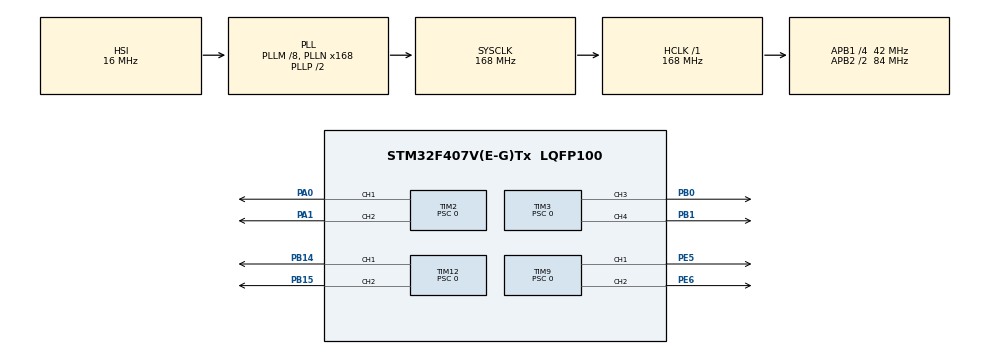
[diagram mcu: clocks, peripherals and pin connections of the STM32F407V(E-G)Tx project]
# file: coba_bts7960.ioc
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Mcu.Family=STM32F4
Mcu.Name=STM32F407V(E-G)Tx
Mcu.Package=LQFP100
NVIC.PriorityGroup=NVIC_PRIORITYGROUP_4
PA0-WKUP.Signal=S_TIM2_CH1_ETR
PA1.Signal=S_TIM2_CH2
PA13.Mode=Serial_Wire
PA13.Signal=SYS_JTMS-SWDIO
PA14.Mode=Serial_Wire
PA14.Signal=SYS_JTCK-SWCLK
PB0.Signal=S_TIM3_CH3
PB1.Signal=S_TIM3_CH4
PB14.Signal=S_TIM12_CH1
PB15.Signal=S_TIM12_CH2
PE5.Signal=S_TIM9_CH1
PE6.Signal=S_TIM9_CH2
PH0-OSC_IN.Mode=HSE-External-Oscillator
PH0-OSC_IN.Signal=RCC_OSC_IN
PH1-OSC_OUT.Mode=HSE-External-Oscillator
PH1-OSC_OUT.Signal=RCC_OSC_OUT
ProjectManager.HeapSize=0x200
ProjectManager.StackSize=0x400
ProjectManager.TargetToolchain=STM32CubeIDE
RCC.48MHZClocksFreq_Value=84000000
RCC.AHBFreq_Value=168000000
RCC.APB1CLKDivider=RCC_HCLK_DIV4
RCC.APB1Freq_Value=42000000
RCC.APB1TimFreq_Value=84000000
RCC.APB2CLKDivider=RCC_HCLK_DIV2
RCC.APB2Freq_Value=84000000
RCC.APB2TimFreq_Value=168000000
RCC.CortexFreq_Value=168000000
RCC.HCLKFreq_Value=168000000
RCC.HSE_VALUE=25000000
RCC.HSI_VALUE=16000000
RCC.LSE_VALUE=32768
RCC.PLLM=8
RCC.PLLN=168
RCC.SYSCLKFreq_VALUE=168000000
RCC.SYSCLKSource=RCC_SYSCLKSOURCE_PLLCLK
RCC.VCOOutputFreq_Value=336000000
SH.S_TIM12_CH1.0=TIM12_CH1,PWM Generation1 CH1
SH.S_TIM12_CH2.0=TIM12_CH2,PWM Generation2 CH2
SH.S_TIM2_CH1_ETR.0=TIM2_CH1,PWM Generation1 CH1
SH.S_TIM2_CH2.0=TIM2_CH2,PWM Generation2 CH2
SH.S_TIM3_CH3.0=TIM3_CH3,PWM Generation3 CH3
SH.S_TIM3_CH4.0=TIM3_CH4,PWM Generation4 CH4
SH.S_TIM9_CH1.0=TIM9_CH1,PWM Generation1 CH1
SH.S_TIM9_CH2.0=TIM9_CH2,PWM Generation2 CH2
TIM12.AutoReloadPreload=TIM_AUTORELOAD_PRELOAD_ENABLE
TIM12.Channel-PWM\ Generation1\ CH1=TIM_CHANNEL_1
TIM12.Channel-PWM\ Generation2\ CH2=TIM_CHANNEL_2
TIM12.Period=4199
TIM12.Prescaler=0
TIM2.AutoReloadPreload=TIM_AUTORELOAD_PRELOAD_DISABLE
TIM2.Channel-PWM\ Generation1\ CH1=TIM_CHANNEL_1
TIM2.Channel-PWM\ Generation2\ CH2=TIM_CHANNEL_2
TIM2.Period=4199
TIM2.Prescaler=0
TIM3.Channel-PWM\ Generation3\ CH3=TIM_CHANNEL_3
TIM3.Channel-PWM\ Generation4\ CH4=TIM_CHANNEL_4
TIM3.Period=4199
TIM3.Prescaler=0
TIM9.Channel-PWM\ Generation1\ CH1=TIM_CHANNEL_1
TIM9.Channel-PWM\ Generation2\ CH2=TIM_CHANNEL_2
TIM9.Period=8399  
TIM9.Prescaler=0
TIM9.Pulse-PWM\ Generation1\ CH1=2100
VP_TIM12_VS_ClockSourceINT.Mode=Internal
VP_TIM2_VS_ClockSourceINT.Mode=Internal
VP_TIM3_VS_ClockSourceINT.Mode=Internal
VP_TIM9_VS_ClockSourceINT.Mode=Internal
board=custom

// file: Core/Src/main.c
/* USER CODE BEGIN Header */
/**
  ******************************************************************************
  * @file           : main.c
  * @brief          : Main program body
  ******************************************************************************
  * @attention
  *
  * Copyright (c) 2025 STMicroelectronics.
  * All rights reserved.
  *
  * This software is licensed under terms that can be found in the LICENSE file
  * in the root directory of this software component.
  * If no LICENSE file comes with this software, it is provided AS-IS.
  *
  ******************************************************************************
  */
/* USER CODE END Header */
#include "main.h"

TIM_HandleTypeDef htim2;
TIM_HandleTypeDef htim3;
TIM_HandleTypeDef htim9;
TIM_HandleTypeDef htim12;

void SystemClock_Config(void);
static void MX_GPIO_Init(void);
static void MX_TIM9_Init(void);
static void MX_TIM12_Init(void);
static void MX_TIM2_Init(void);
static void MX_TIM3_Init(void);

/* USER CODE BEGIN 0 */

// BTS7960 Motor Control Constants
//#define MOTOR_PWM_MAX 8399 // Maximum PWM value (ARR value)
#define MOTOR_SPEED_50 3600  // 50% duty cycle

// Motor Control Functions for BTS7960

//void motor_forward(uint16_t speed) {
//    __HAL_TIM_SET_COMPARE(&htim9, TIM_CHANNEL_1, speed);  // RPWM (PE5)  = speed
//    __HAL_TIM_SET_COMPARE(&htim9, TIM_CHANNEL_2, 0);      // LPWM (PE6)  = 0
//    __HAL_TIM_SET_COMPARE(&htim12, TIM_CHANNEL_1, speed); // RPWM (PB14) = speed
//    __HAL_TIM_SET_COMPARE(&htim12, TIM_CHANNEL_2, 0);     // LPWM (PB15) = 0
//    __HAL_TIM_SET_COMPARE(&htim3, TIM_CHANNEL_3, speed);  // RPWM (PB0)  = speed
//    __HAL_TIM_SET_COMPARE(&htim3, TIM_CHANNEL_4, 0);	  // LPWM (PB1)  = 0
//    __HAL_TIM_SET_COMPARE(&htim2, TIM_CHANNEL_1, speed);  // RPWM (PA0)  = speed
//    __HAL_TIM_SET_COMPARE(&htim2, TIM_CHANNEL_2, 0);	  // LPWM (PA1)  = 0
//}
//
//void motor_reverse(uint16_t speed) {
//    __HAL_TIM_SET_COMPARE(&htim9, TIM_CHANNEL_1, 0);      // RPWM (PE5)  = 0
//    __HAL_TIM_SET_COMPARE(&htim9, TIM_CHANNEL_2, speed);  // LPWM (PE6)  = speed
//    __HAL_TIM_SET_COMPARE(&htim12, TIM_CHANNEL_1, 0);     // RPWM (PB14) = 0
//    __HAL_TIM_SET_COMPARE(&htim12, TIM_CHANNEL_2, speed); // LPWM (PB15) = speed
//    __HAL_TIM_SET_COMPARE(&htim3, TIM_CHANNEL_3, 0);      // RPWM (PB0)  = 0
//    __HAL_TIM_SET_COMPARE(&htim3, TIM_CHANNEL_4, speed);  // LPWM (PB1)  = speed
//    __HAL_TIM_SET_COMPARE(&htim2, TIM_CHANNEL_1, 0);      // RPWM (PA0)  = 0
//    __HAL_TIM_SET_COMPARE(&htim2, TIM_CHANNEL_2, speed);  // LPWM (PA1)  = speed
//}
//
//void motor_stop(void) {
//    __HAL_TIM_SET_COMPARE(&htim9, TIM_CHANNEL_1, 0);      // RPWM (PE5)  = 0
//    __HAL_TIM_SET_COMPARE(&htim9, TIM_CHANNEL_2, 0);      // LPWM (PE6)  = 0
//    __HAL_TIM_SET_COMPARE(&htim12, TIM_CHANNEL_1, 0);     // RPWM (PB14) = 0
//    __HAL_TIM_SET_COMPARE(&htim12, TIM_CHANNEL_2, 0);     // LPWM (PB15) = 0
//    __HAL_TIM_SET_COMPARE(&htim3, TIM_CHANNEL_3, 0);      // RPWM (PB0)  = 0
//    __HAL_TIM_SET_COMPARE(&htim3, TIM_CHANNEL_4, 0);      // LPWM (PB1)  = 0
//    __HAL_TIM_SET_COMPARE(&htim2, TIM_CHANNEL_1, 0);      // RPWM (PA0)  = 0
//    __HAL_TIM_SET_COMPARE(&htim2, TIM_CHANNEL_2, 0);      // LPWM (PA1)  = 0
//}

void coba_motor(uint16_t speed){
    __HAL_TIM_SET_COMPARE(&htim9, TIM_CHANNEL_1,  speed);  // RPWM (PE5) = speed
    __HAL_TIM_SET_COMPARE(&htim9, TIM_CHANNEL_2,  speed); // LPWM (PE6) = 0
    __HAL_TIM_SET_COMPARE(&htim12, TIM_CHANNEL_1, speed); // LPWM (PE6) = 0
    __HAL_TIM_SET_COMPARE(&htim12, TIM_CHANNEL_2, speed); // LPWM (PE6) = 0
    __HAL_TIM_SET_COMPARE(&htim3, TIM_CHANNEL_3,  speed); // LPWM (PE6) = 0
    __HAL_TIM_SET_COMPARE(&htim3, TIM_CHANNEL_4,  speed);
    __HAL_TIM_SET_COMPARE(&htim2, TIM_CHANNEL_1,  speed); // LPWM (PE6) = 0
    __HAL_TIM_SET_COMPARE(&htim2, TIM_CHANNEL_2,  speed);
}
/* USER CODE END 0 */

int main(void)
{

  /* MCU Configuration--------------------------------------------------------*/

  /* Reset of all peripherals, Initializes the Flash interface and the Systick. */
  HAL_Init();

  /* Configure the system clock */
  SystemClock_Config();

  /* Initialize all configured peripherals */
  MX_GPIO_Init();
  MX_TIM9_Init();
  MX_TIM12_Init();
  MX_TIM2_Init();
  MX_TIM3_Init();
  /* USER CODE BEGIN 2 */

  // Start PWM for BTS7960 Motor Driver
  HAL_TIM_PWM_Start(&htim9, TIM_CHANNEL_1);  // Start RPWM (PE5)
  HAL_TIM_PWM_Start(&htim9, TIM_CHANNEL_2);  // Start LPWM (PE6)
  HAL_TIM_PWM_Start(&htim12, TIM_CHANNEL_1);  // Start RPWM (PB14)
  HAL_TIM_PWM_Start(&htim12, TIM_CHANNEL_2);  // Start LPWM (PB15)
  HAL_TIM_PWM_Start(&htim3, TIM_CHANNEL_3);  // Start RPWM (PB0)
  HAL_TIM_PWM_Start(&htim3, TIM_CHANNEL_4);  // Start LPWM (PB1)
  HAL_TIM_PWM_Start(&htim2, TIM_CHANNEL_1);  // Start RPWM (PA0)
  HAL_TIM_PWM_Start(&htim2, TIM_CHANNEL_2);  // Start LPWM (PA1)

  // Initialize motor to stopped state
  //motor_stop();

  /* USER CODE END 2 */

  /* Infinite loop */
  while (1)
  {

    /* USER CODE BEGIN 3 */

	  // Motor Testing Loop: Forward -> Stop -> Reverse -> Stop

//	 // 1. Motor Forward (5 seconds)
//	 motor_forward(MOTOR_SPEED_50);  // 50% duty cycle
//	 HAL_Delay(5000);                // Run for 5 seconds
//
//	 // 2. Motor Stop (3 seconds)
//	 motor_stop();
//	 HAL_Delay(3000);                // Stop for 3 seconds
//
//	 // 3. Motor Reverse (5 seconds)
//	 motor_reverse(MOTOR_SPEED_50);  // 50% duty cycle
//	 HAL_Delay(5000);                // Run for 5 seconds
//
//	 // 4. Motor Stop (3 seconds)
//	 motor_stop();
//	 HAL_Delay(3000);                // Stop for 3 seconds                // Stop for 3 seconds

    // Loop repeats automatically

	coba_motor(MOTOR_SPEED_50);

  }
  /* USER CODE END 3 */
}

void SystemClock_Config(void)
{
  RCC_OscInitTypeDef RCC_OscInitStruct = {0};
  RCC_ClkInitTypeDef RCC_ClkInitStruct = {0};

  /** Configure the main internal regulator output voltage
  */
  __HAL_RCC_PWR_CLK_ENABLE();
  __HAL_PWR_VOLTAGESCALING_CONFIG(PWR_REGULATOR_VOLTAGE_SCALE1);

  /** Initializes the RCC Oscillators according to the specified parameters
  * in the RCC_OscInitTypeDef structure.
  */
  RCC_OscInitStruct.OscillatorType = RCC_OSCILLATORTYPE_HSI;
  RCC_OscInitStruct.HSIState = RCC_HSI_ON;
  RCC_OscInitStruct.HSICalibrationValue = RCC_HSICALIBRATION_DEFAULT;
  RCC_OscInitStruct.PLL.PLLState = RCC_PLL_ON;
  RCC_OscInitStruct.PLL.PLLSource = RCC_PLLSOURCE_HSI;
  RCC_OscInitStruct.PLL.PLLM = 8;
  RCC_OscInitStruct.PLL.PLLN = 168;
  RCC_OscInitStruct.PLL.PLLP = RCC_PLLP_DIV2;
  RCC_OscInitStruct.PLL.PLLQ = 4;
  if (HAL_RCC_OscConfig(&RCC_OscInitStruct) != HAL_OK)
  {
    Error_Handler();
  }

  /** Initializes the CPU, AHB and APB buses clocks
  */
  RCC_ClkInitStruct.ClockType = RCC_CLOCKTYPE_HCLK|RCC_CLOCKTYPE_SYSCLK
                              |RCC_CLOCKTYPE_PCLK1|RCC_CLOCKTYPE_PCLK2;
  RCC_ClkInitStruct.SYSCLKSource = RCC_SYSCLKSOURCE_PLLCLK;
  RCC_ClkInitStruct.AHBCLKDivider = RCC_SYSCLK_DIV1;
  RCC_ClkInitStruct.APB1CLKDivider = RCC_HCLK_DIV4;
  RCC_ClkInitStruct.APB2CLKDivider = RCC_HCLK_DIV2;

  if (HAL_RCC_ClockConfig(&RCC_ClkInitStruct, FLASH_LATENCY_5) != HAL_OK)
  {
    Error_Handler();
  }
}

static void MX_TIM2_Init(void)
{

  TIM_ClockConfigTypeDef sClockSourceConfig = {0};
  TIM_MasterConfigTypeDef sMasterConfig = {0};
  TIM_OC_InitTypeDef sConfigOC = {0};

  htim2.Instance = TIM2;
  htim2.Init.Prescaler = 0;
  htim2.Init.CounterMode = TIM_COUNTERMODE_UP;
  htim2.Init.Period = 4199;
  htim2.Init.ClockDivision = TIM_CLOCKDIVISION_DIV1;
  htim2.Init.AutoReloadPreload = TIM_AUTORELOAD_PRELOAD_DISABLE;
  if (HAL_TIM_Base_Init(&htim2) != HAL_OK)
  {
    Error_Handler();
  }
  sClockSourceConfig.ClockSource = TIM_CLOCKSOURCE_INTERNAL;
  if (HAL_TIM_ConfigClockSource(&htim2, &sClockSourceConfig) != HAL_OK)
  {
    Error_Handler();
  }
  if (HAL_TIM_PWM_Init(&htim2) != HAL_OK)
  {
    Error_Handler();
  }
  sMasterConfig.MasterOutputTrigger = TIM_TRGO_RESET;
  sMasterConfig.MasterSlaveMode = TIM_MASTERSLAVEMODE_DISABLE;
  if (HAL_TIMEx_MasterConfigSynchronization(&htim2, &sMasterConfig) != HAL_OK)
  {
    Error_Handler();
  }
  sConfigOC.OCMode = TIM_OCMODE_PWM1;
  sConfigOC.Pulse = 0;
  sConfigOC.OCPolarity = TIM_OCPOLARITY_HIGH;
  sConfigOC.OCFastMode = TIM_OCFAST_DISABLE;
  if (HAL_TIM_PWM_ConfigChannel(&htim2, &sConfigOC, TIM_CHANNEL_1) != HAL_OK)
  {
    Error_Handler();
  }
  if (HAL_TIM_PWM_ConfigChannel(&htim2, &sConfigOC, TIM_CHANNEL_2) != HAL_OK)
  {
    Error_Handler();
  }
  HAL_TIM_MspPostInit(&htim2);

}

static void MX_TIM3_Init(void)
{

  TIM_ClockConfigTypeDef sClockSourceConfig = {0};
  TIM_MasterConfigTypeDef sMasterConfig = {0};
  TIM_OC_InitTypeDef sConfigOC = {0};

  htim3.Instance = TIM3;
  htim3.Init.Prescaler = 0;
  htim3.Init.CounterMode = TIM_COUNTERMODE_UP;
  htim3.Init.Period = 4199;
  htim3.Init.ClockDivision = TIM_CLOCKDIVISION_DIV1;
  htim3.Init.AutoReloadPreload = TIM_AUTORELOAD_PRELOAD_DISABLE;
  if (HAL_TIM_Base_Init(&htim3) != HAL_OK)
  {
    Error_Handler();
  }
  sClockSourceConfig.ClockSource = TIM_CLOCKSOURCE_INTERNAL;
  if (HAL_TIM_ConfigClockSource(&htim3, &sClockSourceConfig) != HAL_OK)
  {
    Error_Handler();
  }
  if (HAL_TIM_PWM_Init(&htim3) != HAL_OK)
  {
    Error_Handler();
  }
  sMasterConfig.MasterOutputTrigger = TIM_TRGO_RESET;
  sMasterConfig.MasterSlaveMode = TIM_MASTERSLAVEMODE_DISABLE;
  if (HAL_TIMEx_MasterConfigSynchronization(&htim3, &sMasterConfig) != HAL_OK)
  {
    Error_Handler();
  }
  sConfigOC.OCMode = TIM_OCMODE_PWM1;
  sConfigOC.Pulse = 0;
  sConfigOC.OCPolarity = TIM_OCPOLARITY_HIGH;
  sConfigOC.OCFastMode = TIM_OCFAST_DISABLE;
  if (HAL_TIM_PWM_ConfigChannel(&htim3, &sConfigOC, TIM_CHANNEL_3) != HAL_OK)
  {
    Error_Handler();
  }
  if (HAL_TIM_PWM_ConfigChannel(&htim3, &sConfigOC, TIM_CHANNEL_4) != HAL_OK)
  {
    Error_Handler();
  }
  HAL_TIM_MspPostInit(&htim3);

}

static void MX_TIM9_Init(void)
{

  TIM_ClockConfigTypeDef sClockSourceConfig = {0};
  TIM_OC_InitTypeDef sConfigOC = {0};

  htim9.Instance = TIM9;
  htim9.Init.Prescaler = 0;
  htim9.Init.CounterMode = TIM_COUNTERMODE_UP;
  htim9.Init.Period = 8399 ;
  htim9.Init.ClockDivision = TIM_CLOCKDIVISION_DIV1;
  htim9.Init.AutoReloadPreload = TIM_AUTORELOAD_PRELOAD_DISABLE;
  if (HAL_TIM_Base_Init(&htim9) != HAL_OK)
  {
    Error_Handler();
  }
  sClockSourceConfig.ClockSource = TIM_CLOCKSOURCE_INTERNAL;
  if (HAL_TIM_ConfigClockSource(&htim9, &sClockSourceConfig) != HAL_OK)
  {
    Error_Handler();
  }
  if (HAL_TIM_PWM_Init(&htim9) != HAL_OK)
  {
    Error_Handler();
  }
  sConfigOC.OCMode = TIM_OCMODE_PWM1;
  sConfigOC.Pulse = 2100;
  sConfigOC.OCPolarity = TIM_OCPOLARITY_HIGH;
  sConfigOC.OCFastMode = TIM_OCFAST_DISABLE;
  if (HAL_TIM_PWM_ConfigChannel(&htim9, &sConfigOC, TIM_CHANNEL_1) != HAL_OK)
  {
    Error_Handler();
  }
  sConfigOC.Pulse = 0;
  if (HAL_TIM_PWM_ConfigChannel(&htim9, &sConfigOC, TIM_CHANNEL_2) != HAL_OK)
  {
    Error_Handler();
  }
  HAL_TIM_MspPostInit(&htim9);

}

static void MX_TIM12_Init(void)
{

  TIM_ClockConfigTypeDef sClockSourceConfig = {0};
  TIM_OC_InitTypeDef sConfigOC = {0};

  htim12.Instance = TIM12;
  htim12.Init.Prescaler = 0;
  htim12.Init.CounterMode = TIM_COUNTERMODE_UP;
  htim12.Init.Period = 4199;
  htim12.Init.ClockDivision = TIM_CLOCKDIVISION_DIV1;
  htim12.Init.AutoReloadPreload = TIM_AUTORELOAD_PRELOAD_ENABLE;
  if (HAL_TIM_Base_Init(&htim12) != HAL_OK)
  {
    Error_Handler();
  }
  sClockSourceConfig.ClockSource = TIM_CLOCKSOURCE_INTERNAL;
  if (HAL_TIM_ConfigClockSource(&htim12, &sClockSourceConfig) != HAL_OK)
  {
    Error_Handler();
  }
  if (HAL_TIM_PWM_Init(&htim12) != HAL_OK)
  {
    Error_Handler();
  }
  sConfigOC.OCMode = TIM_OCMODE_PWM1;
  sConfigOC.Pulse = 0;
  sConfigOC.OCPolarity = TIM_OCPOLARITY_HIGH;
  sConfigOC.OCFastMode = TIM_OCFAST_DISABLE;
  if (HAL_TIM_PWM_ConfigChannel(&htim12, &sConfigOC, TIM_CHANNEL_1) != HAL_OK)
  {
    Error_Handler();
  }
  if (HAL_TIM_PWM_ConfigChannel(&htim12, &sConfigOC, TIM_CHANNEL_2) != HAL_OK)
  {
    Error_Handler();
  }
  HAL_TIM_MspPostInit(&htim12);

}

static void MX_GPIO_Init(void)
{

  /* GPIO Ports Clock Enable */
  __HAL_RCC_GPIOE_CLK_ENABLE();
  __HAL_RCC_GPIOH_CLK_ENABLE();
  __HAL_RCC_GPIOA_CLK_ENABLE();
  __HAL_RCC_GPIOB_CLK_ENABLE();

}

void Error_Handler(void)
{
  __disable_irq();
  while (1)
  {
  }
}
